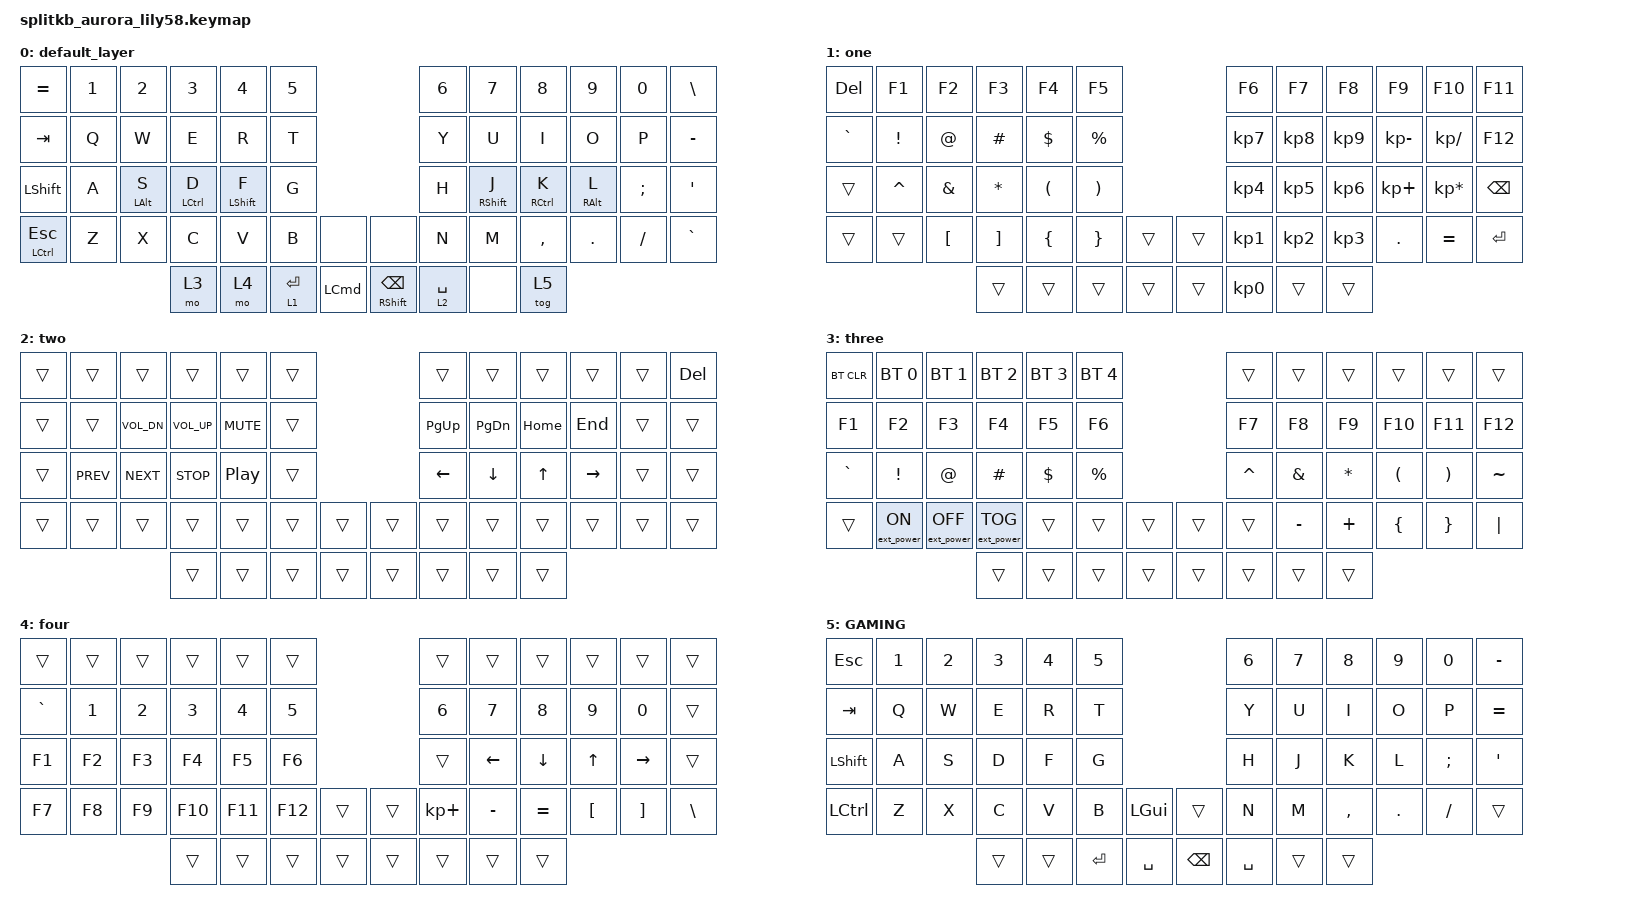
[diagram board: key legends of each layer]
/*
 * Copyright (c) 2022 The ZMK Contributors
 *
 * SPDX-License-Identifier: MIT
 */

#include <behaviors.dtsi>
#include <dt-bindings/zmk/bt.h>
#include <dt-bindings/zmk/ext_power.h>
#include <dt-bindings/zmk/keys.h>

/ {
    behaviors {
        /*
         * This gives me:
         * - Hold = mod
         * - Tap = key
         * - Tap then hold = key (which then repeats)
         * - Tap then tap another key quickly = both keys
         */

        ht: hold_tap {
            compatible = "zmk,behavior-hold-tap";
            #binding-cells = <2>;
            flavor = "tap-preferred";
            tapping-term-ms = <200>;
            quick-tap-ms = <200>;
            bindings = <&kp>, <&kp>;
        };
    };

    keymap {
        compatible = "zmk,keymap";

        default_layer {
            // ------------------------------------------------------------------------------------------------------------
            // |  ESC  |  1  |  2  |  3   |  4   |  5   |                   |  6   |  7    |  8    |  9   |   0   |   `   |
            // |  TAB  |  Q  |  W  |  E   |  R   |  T   |                   |  Y   |  U    |  I    |  O   |   P   |   -   |
            // |  CTRL |  A  |  S  |  D   |  F   |  G   |                   |  H   |  J    |  K    |  L   |   ;   |   '   |
            // | SHIFT |  Z  |  X  |  C   |  V   |  B   |   "["  |  |  "]"  |  N   |  M    |  ,    |  .   |   /   | SHIFT |
            //                     | ALT  | GUI  | LOWER|  SPACE |  | ENTER | RAISE| BSPC  | GUI   |

            bindings = <
&kp EQUAL                &kp N1  &kp N2          &kp N3       &kp N4            &kp N5                                                       &kp N6       &kp N7             &kp N8       &kp N9           &kp N0    &kp BACKSLASH
&kp TAB                  &kp Q   &kp W           &kp E        &kp R             &kp T                                                        &kp Y        &kp U              &kp I        &kp O            &kp P     &kp MINUS
&kp LEFT_SHIFT           &kp A   &ht LEFT_ALT S  &ht LCTRL D  &ht LEFT_SHIFT F  &kp G                                                        &kp H        &ht RIGHT_SHIFT J  &ht RCTRL K  &ht RIGHT_ALT L  &kp SEMI  &kp SQT
&ht LEFT_CONTROL ESCAPE  &kp Z   &kp X           &kp C        &kp V             &kp B         &none               &none                      &kp N        &kp M              &kp COMMA    &kp DOT          &kp FSLH  &kp GRAVE
                                                 &mo 3        &mo 4             &lt 1 RETURN  &kp LEFT_COMMAND    &ht RIGHT_SHIFT BACKSPACE  &lt 2 SPACE  &none              &tog 5
            >;
        };

        one {
            // ------------------------------------------------------------------------------------------------------------
            // | BTCLR | BT1 | BT2 |  BT3 |  BT4 |  BT5 |                   |      |       |       |      |       |       |
            // |  F1   |  F2 |  F3 |  F4  |  F5  |  F6  |                   |  F7  |  F8   |  F9   |  F10 |  F11  |  F12  |
            // |   `   |  !  |  @  |  #   |  $   |  %   |                   |  ^   |  &    |  *    |  (   |   )   |   ~   |
            // |       |     |     |      |      |      |        |  |       |      |  _    |  +    |  {   |   }   |  "|"  |
            //                     |      |      |      |        |  |       |      |       |       |

            bindings = <
&kp DEL    &kp F1           &kp F2            &kp F3             &kp F4                &kp F5                                   &kp F6     &kp F7     &kp F8     &kp F9        &kp F10          &kp F11
&kp GRAVE  &kp EXCLAMATION  &kp AT_SIGN       &kp HASH           &kp DOLLAR            &kp PERCENT                              &kp KP_N7  &kp KP_N8  &kp KP_N9  &kp KP_MINUS  &kp KP_DIVIDE    &kp F12
&trans     &kp CARET        &kp AMPERSAND     &kp ASTERISK       &kp LEFT_PARENTHESIS  &kp RIGHT_PARENTHESIS                    &kp KP_N4  &kp KP_N5  &kp KP_N6  &kp KP_PLUS   &kp KP_ASTERISK  &kp BACKSPACE
&trans     &trans           &kp LEFT_BRACKET  &kp RIGHT_BRACKET  &kp LEFT_BRACE        &kp RIGHT_BRACE        &trans    &trans  &kp KP_N1  &kp KP_N2  &kp KP_N3  &kp PERIOD    &kp EQUAL        &kp RETURN
                                              &trans             &trans                &trans                 &trans    &trans  &kp KP_N0  &trans     &trans
            >;
        };

        two {
            bindings = <
&trans  &trans      &trans        &trans        &trans            &trans                    &trans     &trans     &trans    &trans     &trans  &kp DEL
&trans  &trans      &kp C_VOL_DN  &kp C_VOL_UP  &kp K_MUTE        &trans                    &kp PG_UP  &kp PG_DN  &kp HOME  &kp END    &trans  &trans
&trans  &kp C_PREV  &kp C_NEXT    &kp C_STOP    &kp C_PLAY_PAUSE  &trans                    &kp LEFT   &kp DOWN   &kp UP    &kp RIGHT  &trans  &trans
&trans  &trans      &trans        &trans        &trans            &trans  &trans    &trans  &trans     &trans     &trans    &trans     &trans  &trans
                                  &trans        &trans            &trans  &trans    &trans  &trans     &trans     &trans
            >;
        };

        three {
            bindings = <
&bt BT_CLR  &bt BT_SEL 0      &bt BT_SEL 1       &bt BT_SEL 2       &bt BT_SEL 3  &bt BT_SEL 4                    &trans     &trans     &trans    &trans    &trans    &trans
&kp F1      &kp F2            &kp F3             &kp F4             &kp F5        &kp F6                          &kp F7     &kp F8     &kp F9    &kp F10   &kp F11   &kp F12
&kp GRAVE   &kp EXCL          &kp AT             &kp HASH           &kp DOLLAR    &kp PRCNT                       &kp CARET  &kp AMPS   &kp STAR  &kp LPAR  &kp RPAR  &kp TILDE
&trans      &ext_power EP_ON  &ext_power EP_OFF  &ext_power EP_TOG  &trans        &trans        &trans    &trans  &trans     &kp MINUS  &kp PLUS  &kp LBRC  &kp RBRC  &kp PIPE
                                                 &trans             &trans        &trans        &trans    &trans  &trans     &trans     &trans
            >;
        };

        four {
            bindings = <
&trans     &trans  &trans  &trans   &trans   &trans                     &trans       &trans     &trans     &trans    &trans     &trans
&kp GRAVE  &kp N1  &kp N2  &kp N3   &kp N4   &kp N5                     &kp N6       &kp N7     &kp N8     &kp N9    &kp N0     &trans
&kp F1     &kp F2  &kp F3  &kp F4   &kp F5   &kp F6                     &trans       &kp LEFT   &kp DOWN   &kp UP    &kp RIGHT  &trans
&kp F7     &kp F8  &kp F9  &kp F10  &kp F11  &kp F12  &trans    &trans  &kp KP_PLUS  &kp MINUS  &kp EQUAL  &kp LBKT  &kp RBKT   &kp BSLH
                           &trans   &trans   &trans   &trans    &trans  &trans       &trans     &trans
            >;
        };

        GAMING {
            bindings = <
&kp ESC    &kp N1  &kp N2  &kp N3  &kp N4  &kp N5                            &kp N6     &kp N7  &kp N8     &kp N9   &kp N0    &kp MINUS
&kp TAB    &kp Q   &kp W   &kp E   &kp R   &kp T                             &kp Y      &kp U   &kp I      &kp O    &kp P     &kp EQUAL
&kp LSHFT  &kp A   &kp S   &kp D   &kp F   &kp G                             &kp H      &kp J   &kp K      &kp L    &kp SEMI  &kp APOS
&kp LCTRL  &kp Z   &kp X   &kp C   &kp V   &kp B      &kp LGUI     &trans    &kp N      &kp M   &kp COMMA  &kp DOT  &kp FSLH  &trans
                           &trans  &trans  &kp ENTER  &kp SPACE    &kp BSPC  &kp SPACE  &trans  &trans
            >;
        };
    };
};
